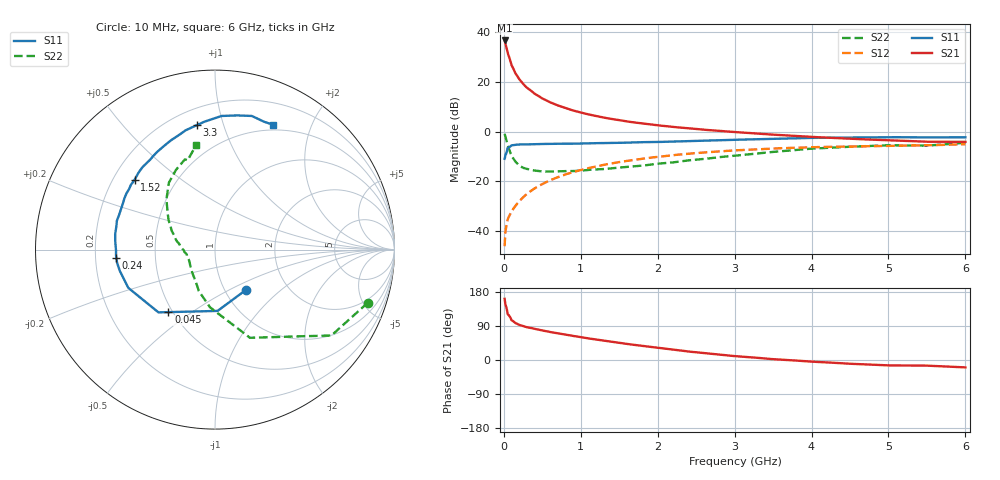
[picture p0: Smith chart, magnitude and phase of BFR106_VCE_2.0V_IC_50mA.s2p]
! Infineon Technologies  Discrete & RF Semiconductors
! BFR106
! VCE =  2.0 V,  IC =  50 mA
! Common Emitter S-Parameters:  Nov 2015
# GHz  S  MA  R  50
!  f  S11  S21  S12  S22
! GHz  MAG  ANG  MAG  ANG  MAG  ANG  MAG  ANG
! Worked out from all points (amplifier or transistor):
!   210 points, 10 MHz to 6 GHz, reference 50 ohm
!   highest |S21| = 36.7 dB at 10 MHz (marker M1)
!   |S21| within 3 dB of that: start of sweep to 34.39 MHz
!   unconditionally stable (mu >= 1): 231.8 MHz to 2.765 GHz; 5.143 GHz to end of sweep
!   at 185 MHz: K = 0.95, MSG = 25.3 dB, |S12| = -28.6 dB
!   at 1.52 GHz: K = 1.06, MAG = 6.9 dB, |S12| = -12.2 dB
!   at 6 GHz: K = 1.01, MAG = -0.1 dB, |S12| = -5.1 dB
!   S11 on the Smith chart (normalised r, x): 10 MHz: 1.24, -0.61; 45 MHz: 0.47, -0.41; 240 MHz: 0.29, -0.04; 1.52 GHz: 0.29, +0.35; 3.3 GHz: 0.30, +0.82; 6 GHz: 0.44, +1.47
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0.01  0.2831 -53.1  68.59 161.5  0.0049 78.3  0.9011 -19.2
0.02  0.3419 -87.6  60.29 147.0  0.0094 67.4  0.8061 -36.4
0.045  0.4348 -126.7  41.16 127.4  0.0156 60.3  0.5588 -61.1
0.05  0.4707 -132.0  38.26 121.3  0.0169 59.5  0.5284 -68.4
0.1  0.528 -156.2  21.85 105.0  0.0245 60.3  0.3223 -95.0
0.15  0.5428 -166.9  14.96 97.3  0.0317 63.6  0.2481 -111.2
0.2  0.5503 -172.1  11.4 92.7  0.0393 66.7  0.2069 -121.4
0.24  0.552 -175.4  9.576 90.0  0.0457 68.3  0.1898 -129.1
0.26  0.5523 -176.8  8.828 88.6  0.0489 68.8  0.1841 -132.3
0.3  0.5514 -179.3  7.649 86.5  0.0553 69.7  0.1767 -137.2
0.4  0.5579 175.1  5.791 82.1  0.0716 70.7  0.1639 -147.5
0.5  0.5628 171.2  4.652 77.9  0.0874 70.7  0.1571 -154.5
0.6  0.5637 167.5  3.9 73.9  0.1039 70.1  0.156 -158.9
0.7  0.5698 163.6  3.372 70.2  0.12 69.0  0.1581 -162.9
1.02  0.5746 153.0  2.376 59.7  0.1709 64.7  0.1642 -172.6
1.52  0.5933 139.1  1.683 44.8  0.2455 56.6  0.1892 176.2
2.02  0.6176 125.8  1.328 31.7  0.312 48.1  0.2265 165.1
3.1  0.6893 101.9  0.955 8.8  0.4246 30.3  0.337 141.6
3.3  0.7007 98.3  0.91 5.7  0.4401 27.2  0.3622 137.6
4.1  0.7471 85.9  0.767 -5.3  0.4875 15.4  0.4602 122.8
5.1  0.7699 73.5  0.659 -14.3  0.519 3.6  0.5281 108.1
6  0.7668 65.3  0.62 -19.5  0.5555 -5.4  0.5944 100.0
